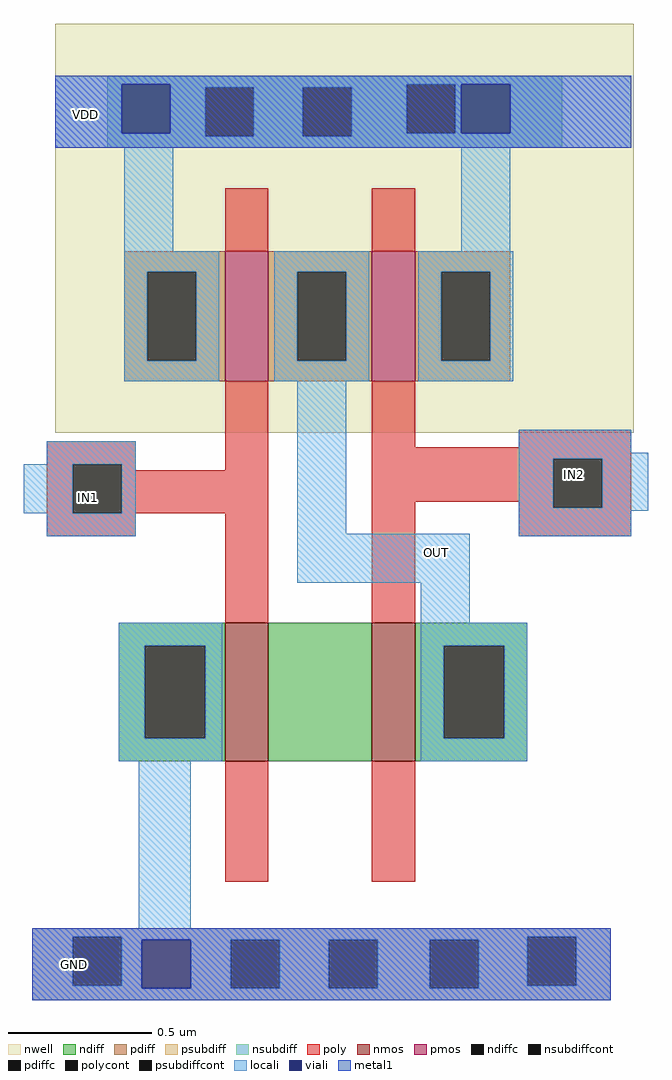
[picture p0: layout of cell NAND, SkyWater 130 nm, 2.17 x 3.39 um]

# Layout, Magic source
magic
tech sky130A
<< nwell >>
rect -86 148 115 290
<< nmos >>
rect -27 34 -12 82
rect 24 34 39 82
<< pmos >>
rect -27 166 -12 211
rect 24 166 39 211
<< ndiff >>
rect -64 74 -27 82
rect -64 42 -55 74
rect -34 42 -27 74
rect -64 34 -27 42
rect -12 34 24 82
rect 39 74 78 82
rect 39 42 49 74
rect 70 42 78 74
rect 39 34 78 42
<< pdiff >>
rect -62 204 -27 211
rect -62 173 -54 204
rect -37 173 -27 204
rect -62 166 -27 173
rect -12 204 24 211
rect -12 173 -2 204
rect 15 173 24 204
rect -12 166 24 173
rect 39 204 72 211
rect 39 173 48 204
rect 65 173 72 204
rect 39 166 72 173
<< ndiffc >>
rect -55 42 -34 74
rect 49 42 70 74
<< pdiffc >>
rect -54 173 -37 204
rect -2 173 15 204
rect 48 173 65 204
<< psubdiff >>
rect -94 -27 107 -24
rect -94 -44 -80 -27
rect -63 -28 78 -27
rect -63 -44 -25 -28
rect -94 -45 -25 -44
rect -8 -45 9 -28
rect 26 -45 44 -28
rect 61 -44 78 -28
rect 95 -44 107 -27
rect 61 -45 107 -44
rect -94 -49 107 -45
<< nsubdiff >>
rect -68 269 90 272
rect -68 268 36 269
rect -68 251 -34 268
rect -17 251 0 268
rect 17 252 36 268
rect 53 252 90 269
rect 17 251 90 252
rect -68 247 90 251
<< psubdiffcont >>
rect -80 -44 -63 -27
rect -25 -45 -8 -28
rect 9 -45 26 -28
rect 44 -45 61 -28
rect 78 -44 95 -27
<< nsubdiffcont >>
rect -34 251 -17 268
rect 0 251 17 268
rect 36 252 53 269
<< poly >>
rect -27 211 -12 233
rect 24 211 39 233
rect -89 137 -58 145
rect -89 120 -80 137
rect -63 135 -58 137
rect -27 135 -12 166
rect -63 120 -12 135
rect -89 112 -58 120
rect -27 82 -12 120
rect 24 143 39 166
rect 75 143 114 149
rect 24 139 114 143
rect 24 124 87 139
rect 24 82 39 124
rect 75 122 87 124
rect 104 122 114 139
rect 75 112 114 122
rect -27 -8 -12 34
rect 24 -8 39 34
<< polycont >>
rect -80 120 -63 137
rect 87 122 104 139
<< locali >>
rect -86 269 114 272
rect -86 252 -63 269
rect -46 268 36 269
rect -46 252 -34 268
rect -86 251 -34 252
rect -17 251 0 268
rect 17 252 36 268
rect 53 252 55 269
rect 72 252 114 269
rect 17 251 114 252
rect -86 247 114 251
rect -62 211 -45 247
rect 55 211 72 247
rect -62 204 -29 211
rect -62 173 -54 204
rect -37 173 -29 204
rect -62 166 -29 173
rect -10 204 23 211
rect -10 173 -2 204
rect 15 173 23 204
rect -10 166 23 173
rect 40 204 73 211
rect 40 173 48 204
rect 65 173 73 204
rect 40 166 73 173
rect -89 137 -58 145
rect -97 120 -80 137
rect -63 120 -58 137
rect -89 112 -58 120
rect -2 113 15 166
rect 75 141 114 149
rect 75 139 120 141
rect 75 122 87 139
rect 104 122 120 139
rect 75 121 120 122
rect -2 96 58 113
rect 75 112 114 121
rect 41 82 58 96
rect -64 74 -28 82
rect -64 42 -55 74
rect -34 42 -28 74
rect -64 34 -28 42
rect 41 74 78 82
rect 41 42 49 74
rect 70 42 78 74
rect 41 34 78 42
rect -57 -24 -39 34
rect -94 -27 107 -24
rect -94 -44 -80 -27
rect -63 -28 78 -27
rect -63 -44 -56 -28
rect -94 -45 -56 -44
rect -39 -45 -25 -28
rect -8 -45 9 -28
rect 26 -45 44 -28
rect 61 -44 78 -28
rect 95 -44 107 -27
rect 61 -45 107 -44
rect -94 -49 107 -45
<< viali >>
rect -63 252 -46 269
rect 55 252 72 269
rect -56 -45 -39 -28
<< metal1 >>
rect -86 269 114 272
rect -86 252 -63 269
rect -46 252 55 269
rect 72 252 114 269
rect -86 247 114 252
rect -94 -28 107 -24
rect -94 -45 -56 -28
rect -39 -45 107 -28
rect -94 -49 107 -45
<< labels >>
flabel space -89 248 -62 269 0 FreeSans 80 0 0 0 VDD
port 0 nsew
flabel metal1 -93 -47 -66 -26 0 FreeSans 80 0 0 0 GND
port 1 nsew
flabel locali -88 115 -61 136 0 FreeSans 80 0 0 0 IN1
port 2 nsew
flabel locali 81 123 108 144 0 FreeSans 80 0 0 0 IN2
port 3 nsew
flabel space 33 96 60 117 0 FreeSans 80 0 0 0 OUT
port 4 nsew
<< end >>
